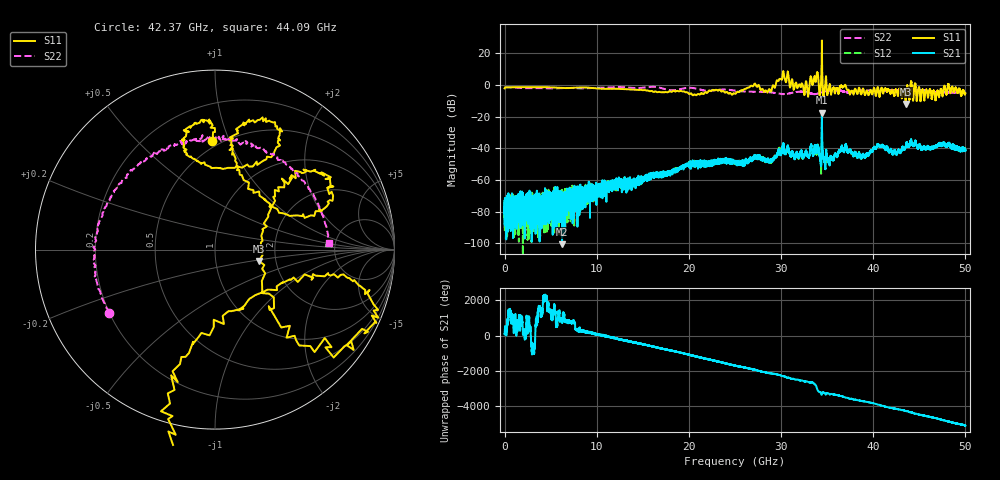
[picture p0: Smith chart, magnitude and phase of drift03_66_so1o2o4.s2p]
!Created with skrf (http://scikit-rf.org).
# Hz S RI R 50.0
!freq ReS11 ImS11 ReS21 ImS21 ReS12 ImS12 ReS22 ImS22
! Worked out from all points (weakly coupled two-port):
!   10000 points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, 5.3 MHz to 50 GHz, reference 50 ohm
!   highest |S21| = -17.49 dB at 34.43 GHz (marker M1); lowest = -100.5 dB at 6.24 GHz (marker M2)
!   lowest |S11| = -11.9 dB at 43.53 GHz (marker M3), VSWR 1.68, Z = 81.5 - j11.1 ohm
!   |S11| at or under -10 dB: 43.49008 GHz to 43.55282 GHz (62.74 MHz wide, 0.144 % of centre); 44.70491 GHz to 44.71714 GHz (12.23 MHz wide, 0.0274 % of centre); 45.13455 GHz to 45.14285 GHz (8.302 MHz wide, 0.0184 % of centre) (the widest 3 of 5)
!   |S22| runs from -5.8 to -1.1 dB; largest |S21 - S12| = 0.025
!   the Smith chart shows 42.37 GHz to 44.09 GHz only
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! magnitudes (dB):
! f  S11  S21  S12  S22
! 5.3 MHz  -2.1  -81.0  -84.4  -1.3
! 6.24 GHz  -1.9  -100.5  -69.2  -1.9
! 8.34 GHz  -1.5  -70.0  -70.1  -2.1
! 16.67 GHz  -4.4  -56.5  -55.9  -1.5
! 20.27 GHz  -5.5  -49.3  -49.5  -1.8
! 25.01 GHz  -5.5  -48.4  -49.1  -3.5
! 27.02 GHz  -0.3  -45.2  -45.7  -4.3
! 28.72 GHz  -2.5  -48.3  -48.2  -4.5
! 30.14 GHz  4.4  -40.7  -40.3  -5.7
! 32.74 GHz  2.0  -42.6  -42.5  -4.6
! 33.34 GHz  2.7  -39.7  -40.5  -5.6
! 33.82 GHz  4.0  -41.8  -42.4  -5.6
! 34.43 GHz  28.2  -17.5  -18.7  -4.6
! 35.29 GHz  0.3  -48.8  -47.2  -3.4
! 36.84 GHz  -0.8  -41.6  -41.6  -4.1
! 38.85 GHz  -2.7  -44.8  -44.3  -3.2
! 40.58 GHz  -3.2  -38.0  -37.9  -4.0
! 41.67 GHz  -2.9  -41.9  -42.4  -3.3
! 43.53 GHz  -11.9  -38.6  -38.7  -4.3
! 46.94 GHz  -3.7  -39.0  -38.9  -4.9
! 48.32 GHz  -4.5  -38.8  -37.7  -4.6
! 50 GHz  -5.2  -41.1  -40.4  -4.5
